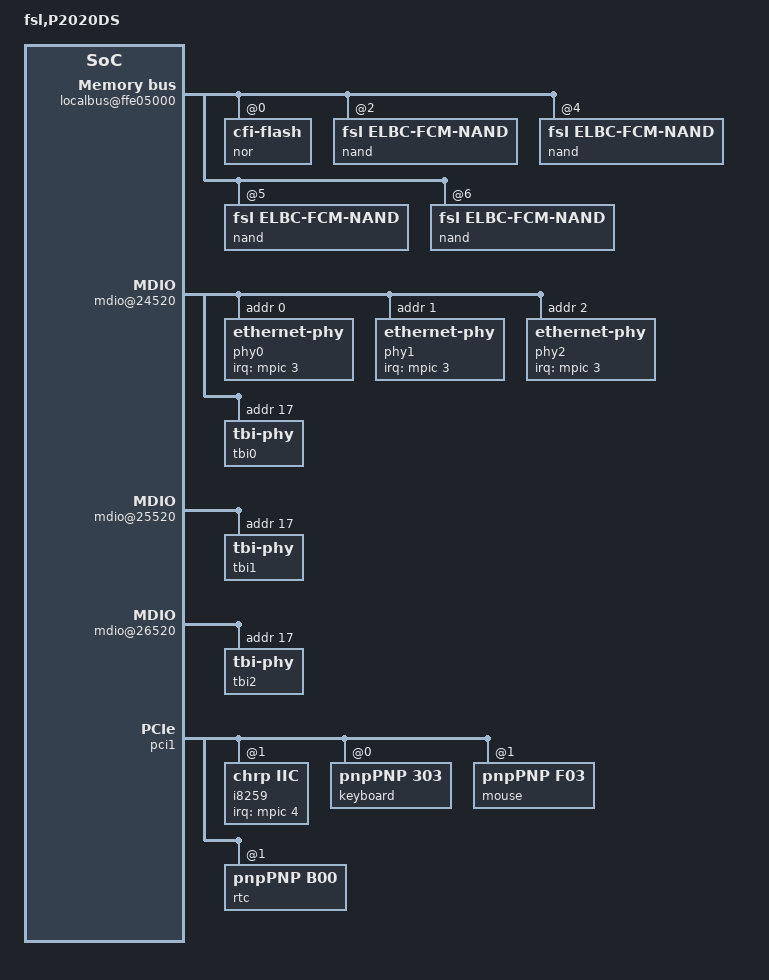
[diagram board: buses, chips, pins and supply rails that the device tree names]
/*
 * P2020 DS Device Tree Source
 *
 * Copyright 2009-2011 Freescale Semiconductor Inc.
 *
 * This program is free software; you can redistribute  it and/or modify it
 * under  the terms of  the GNU General  Public License as published by the
 * Free Software Foundation;  either version 2 of the  License, or (at your
 * option) any later version.
 */

/include/ "p2020si.dtsi"

/ {
	model = "fsl,P2020DS";
	compatible = "fsl,P2020DS";

	aliases {
		ethernet0 = &enet0;
		ethernet1 = &enet1;
		ethernet2 = &enet2;
		serial0 = &serial0;
		serial1 = &serial1;
		pci0 = &pci0;
		pci1 = &pci1;
		pci2 = &pci2;
	};


	memory {
		device_type = "memory";
	};

	localbus@ffe05000 {
		compatible = "fsl,elbc", "simple-bus";
		ranges = <0x0 0x0 0x0 0xe8000000 0x08000000
			  0x1 0x0 0x0 0xe0000000 0x08000000
			  0x2 0x0 0x0 0xffa00000 0x00040000
			  0x3 0x0 0x0 0xffdf0000 0x00008000
			  0x4 0x0 0x0 0xffa40000 0x00040000
			  0x5 0x0 0x0 0xffa80000 0x00040000
			  0x6 0x0 0x0 0xffac0000 0x00040000>;

		nor@0,0 {
			#address-cells = <1>;
			#size-cells = <1>;
			compatible = "cfi-flash";
			reg = <0x0 0x0 0x8000000>;
			bank-width = <2>;
			device-width = <1>;

			ramdisk@0 {
				reg = <0x0 0x03000000>;
				read-only;
			};

			diagnostic@3000000 {
				reg = <0x03000000 0x00e00000>;
				read-only;
			};

			dink@3e00000 {
				reg = <0x03e00000 0x00200000>;
				read-only;
			};

			kernel@4000000 {
				reg = <0x04000000 0x00400000>;
				read-only;
			};

			jffs2@4400000 {
				reg = <0x04400000 0x03b00000>;
			};

			dtb@7f00000 {
				reg = <0x07f00000 0x00080000>;
				read-only;
			};

			u-boot@7f80000 {
				reg = <0x07f80000 0x00080000>;
				read-only;
			};
		};

		nand@2,0 {
			#address-cells = <1>;
			#size-cells = <1>;
			compatible = "fsl,elbc-fcm-nand";
			reg = <0x2 0x0 0x40000>;

			u-boot@0 {
				reg = <0x0 0x02000000>;
				read-only;
			};

			jffs2@2000000 {
				reg = <0x02000000 0x10000000>;
			};

			ramdisk@12000000 {
				reg = <0x12000000 0x08000000>;
				read-only;
			};

			kernel@1a000000 {
				reg = <0x1a000000 0x04000000>;
			};

			dtb@1e000000 {
				reg = <0x1e000000 0x01000000>;
				read-only;
			};

			empty@1f000000 {
				reg = <0x1f000000 0x21000000>;
			};
		};

		nand@4,0 {
			compatible = "fsl,elbc-fcm-nand";
			reg = <0x4 0x0 0x40000>;
		};

		nand@5,0 {
			compatible = "fsl,elbc-fcm-nand";
			reg = <0x5 0x0 0x40000>;
		};

		nand@6,0 {
			compatible = "fsl,elbc-fcm-nand";
			reg = <0x6 0x0 0x40000>;
		};
	};

	soc@ffe00000 {

		usb@22000 {
			phy_type = "ulpi";
		};

		mdio@24520 {
			phy0: ethernet-phy@0 {
				interrupt-parent = <&mpic>;
				interrupts = <3 1>;
				reg = <0x0>;
			};
			phy1: ethernet-phy@1 {
				interrupt-parent = <&mpic>;
				interrupts = <3 1>;
				reg = <0x1>;
			};
			phy2: ethernet-phy@2 {
				interrupt-parent = <&mpic>;
				interrupts = <3 1>;
				reg = <0x2>;
			};
			tbi0: tbi-phy@11 {
				reg = <0x11>;
				device_type = "tbi-phy";
			};

		};

		mdio@25520 {
			tbi1: tbi-phy@11 {
				reg = <0x11>;
				device_type = "tbi-phy";
			};
		};

		mdio@26520 {
			tbi2: tbi-phy@11 {
				reg = <0x11>;
				device_type = "tbi-phy";
			};

		};

		ptp_clock@24E00 {
			compatible = "fsl,etsec-ptp";
			reg = <0x24E00 0xB0>;
			interrupts = <68 2 69 2 70 2>;
			interrupt-parent = < &mpic >;
			fsl,tclk-period = <5>;
			fsl,tmr-prsc = <200>;
			fsl,tmr-add = <0xCCCCCCCD>;
			fsl,tmr-fiper1 = <0x3B9AC9FB>;
			fsl,tmr-fiper2 = <0x0001869B>;
			fsl,max-adj = <249999999>;
		};

		enet0: ethernet@24000 {
			tbi-handle = <&tbi0>;
			phy-handle = <&phy0>;
			phy-connection-type = "rgmii-id";
		};

		enet1: ethernet@25000 {
			tbi-handle = <&tbi1>;
			phy-handle = <&phy1>;
			phy-connection-type = "rgmii-id";

		};

		enet2: ethernet@26000 {
			tbi-handle = <&tbi2>;
			phy-handle = <&phy2>;
			phy-connection-type = "rgmii-id";
		};


		msi@41600 {
			compatible = "fsl,mpic-msi";
		};
	};

	pci0: pcie@ffe08000 {
		ranges = <0x2000000 0x0 0x80000000 0 0x80000000 0x0 0x20000000
			  0x1000000 0x0 0x00000000 0 0xffc00000 0x0 0x10000>;
		interrupt-map-mask = <0xf800 0x0 0x0 0x7>;
		interrupt-map = <
			/* IDSEL 0x0 */
			0000 0x0 0x0 0x1 &mpic 0x8 0x1
			0000 0x0 0x0 0x2 &mpic 0x9 0x1
			0000 0x0 0x0 0x3 &mpic 0xa 0x1
			0000 0x0 0x0 0x4 &mpic 0xb 0x1
			>;
		pcie@0 {
			reg = <0x0 0x0 0x0 0x0 0x0>;
			#size-cells = <2>;
			#address-cells = <3>;
			device_type = "pci";
			ranges = <0x2000000 0x0 0x80000000
				  0x2000000 0x0 0x80000000
				  0x0 0x20000000

				  0x1000000 0x0 0x0
				  0x1000000 0x0 0x0
				  0x0 0x10000>;
		};
	};

	pci1: pcie@ffe09000 {
		ranges = <0x2000000 0x0 0xa0000000 0 0xa0000000 0x0 0x20000000
			  0x1000000 0x0 0x00000000 0 0xffc10000 0x0 0x10000>;
		interrupt-map-mask = <0xff00 0x0 0x0 0x7>;
		interrupt-map = <

			// IDSEL 0x11 func 0 - PCI slot 1
			0x8800 0x0 0x0 0x1 &i8259 0x9 0x2
			0x8800 0x0 0x0 0x2 &i8259 0xa 0x2

			// IDSEL 0x11 func 1 - PCI slot 1
			0x8900 0x0 0x0 0x1 &i8259 0x9 0x2
			0x8900 0x0 0x0 0x2 &i8259 0xa 0x2

			// IDSEL 0x11 func 2 - PCI slot 1
			0x8a00 0x0 0x0 0x1 &i8259 0x9 0x2
			0x8a00 0x0 0x0 0x2 &i8259 0xa 0x2

			// IDSEL 0x11 func 3 - PCI slot 1
			0x8b00 0x0 0x0 0x1 &i8259 0x9 0x2
			0x8b00 0x0 0x0 0x2 &i8259 0xa 0x2

			// IDSEL 0x11 func 4 - PCI slot 1
			0x8c00 0x0 0x0 0x1 &i8259 0x9 0x2
			0x8c00 0x0 0x0 0x2 &i8259 0xa 0x2

			// IDSEL 0x11 func 5 - PCI slot 1
			0x8d00 0x0 0x0 0x1 &i8259 0x9 0x2
			0x8d00 0x0 0x0 0x2 &i8259 0xa 0x2

			// IDSEL 0x11 func 6 - PCI slot 1
			0x8e00 0x0 0x0 0x1 &i8259 0x9 0x2
			0x8e00 0x0 0x0 0x2 &i8259 0xa 0x2

			// IDSEL 0x11 func 7 - PCI slot 1
			0x8f00 0x0 0x0 0x1 &i8259 0x9 0x2
			0x8f00 0x0 0x0 0x2 &i8259 0xa 0x2

			// IDSEL 0x1d  Audio
			0xe800 0x0 0x0 0x1 &i8259 0x6 0x2

			// IDSEL 0x1e Legacy
			0xf000 0x0 0x0 0x1 &i8259 0x7 0x2
			0xf100 0x0 0x0 0x1 &i8259 0x7 0x2

			// IDSEL 0x1f IDE/SATA
			0xf800 0x0 0x0 0x1 &i8259 0xe 0x2
			0xf900 0x0 0x0 0x1 &i8259 0x5 0x2
			>;

		pcie@0 {
			reg = <0x0 0x0 0x0 0x0 0x0>;
			#size-cells = <2>;
			#address-cells = <3>;
			device_type = "pci";
			ranges = <0x2000000 0x0 0xa0000000
				  0x2000000 0x0 0xa0000000
				  0x0 0x20000000

				  0x1000000 0x0 0x0
				  0x1000000 0x0 0x0
				  0x0 0x10000>;
			uli1575@0 {
				reg = <0x0 0x0 0x0 0x0 0x0>;
				#size-cells = <2>;
				#address-cells = <3>;
				ranges = <0x2000000 0x0 0xa0000000
					  0x2000000 0x0 0xa0000000
					  0x0 0x20000000

					  0x1000000 0x0 0x0
					  0x1000000 0x0 0x0
					  0x0 0x10000>;
				isa@1e {
					device_type = "isa";
					#interrupt-cells = <2>;
					#size-cells = <1>;
					#address-cells = <2>;
					reg = <0xf000 0x0 0x0 0x0 0x0>;
					ranges = <0x1 0x0 0x1000000 0x0 0x0
						  0x1000>;
					interrupt-parent = <&i8259>;

					i8259: interrupt-controller@20 {
						reg = <0x1 0x20 0x2
						       0x1 0xa0 0x2
						       0x1 0x4d0 0x2>;
						interrupt-controller;
						device_type = "interrupt-controller";
						#address-cells = <0>;
						#interrupt-cells = <2>;
						compatible = "chrp,iic";
						interrupts = <4 1>;
						interrupt-parent = <&mpic>;
					};

					i8042@60 {
						#size-cells = <0>;
						#address-cells = <1>;
						reg = <0x1 0x60 0x1 0x1 0x64 0x1>;
						interrupts = <1 3 12 3>;
						interrupt-parent =
							<&i8259>;

						keyboard@0 {
							reg = <0x0>;
							compatible = "pnpPNP,303";
						};

						mouse@1 {
							reg = <0x1>;
							compatible = "pnpPNP,f03";
						};
					};

					rtc@70 {
						compatible = "pnpPNP,b00";
						reg = <0x1 0x70 0x2>;
					};

					gpio@400 {
						reg = <0x1 0x400 0x80>;
					};
				};
			};
		};

	};

	pci2: pcie@ffe0a000 {
		ranges = <0x2000000 0x0 0xc0000000 0 0xc0000000 0x0 0x20000000
			  0x1000000 0x0 0x00000000 0 0xffc20000 0x0 0x10000>;
		interrupt-map-mask = <0xf800 0x0 0x0 0x7>;
		interrupt-map = <
			/* IDSEL 0x0 */
			0000 0x0 0x0 0x1 &mpic 0x0 0x1
			0000 0x0 0x0 0x2 &mpic 0x1 0x1
			0000 0x0 0x0 0x3 &mpic 0x2 0x1
			0000 0x0 0x0 0x4 &mpic 0x3 0x1
			>;
		pcie@0 {
			reg = <0x0 0x0 0x0 0x0 0x0>;
			#size-cells = <2>;
			#address-cells = <3>;
			device_type = "pci";
			ranges = <0x2000000 0x0 0xc0000000
				  0x2000000 0x0 0xc0000000
				  0x0 0x20000000

				  0x1000000 0x0 0x0
				  0x1000000 0x0 0x0
				  0x0 0x10000>;
		};
	};
};
